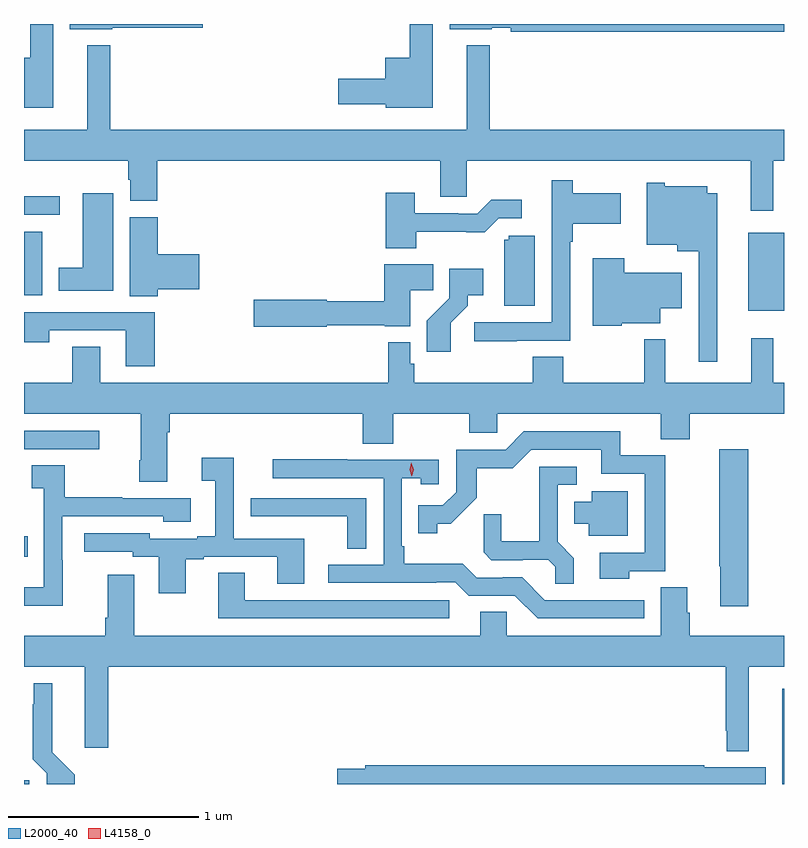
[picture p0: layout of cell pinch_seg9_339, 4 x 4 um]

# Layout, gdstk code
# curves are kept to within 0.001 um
import gdstk
lib = gdstk.Library(unit=1e-6, precision=1e-09)
def R(c, l, rs):  # rectangles x0, y0, x1, y1
    for r in rs: c.add(gdstk.rectangle(r[:2], r[2:], *l))
def P(c, l, *ps):  # polygons
    for p in ps: c.add(gdstk.Polygon(p, *l))
L2000_40 = (2000, 40)
L4158_0 = (4158, 0)

pinch_seg9_339 = lib.new_cell('pinch_seg9_339')
R(pinch_seg9_339, L2000_40, [(539.751,1195.804,539.779,1195.825), (543.743,1195.804,543.751,1196.305), (539.751,1196.999,539.771,1197.109), (539.751,1197.567,540.148,1197.663), (543.563,1198.295,543.751,1198.705), (539.751,1198.376,539.848,1198.711), (539.751,1198.8,539.938,1198.898)])
P(pinch_seg9_339, L2000_40, [(543.751,1199.804),(541.991,1199.804),(541.991,1199.777),(542.214,1199.777),(542.214,1199.783),(542.314,1199.783),(542.314,1199.764),(543.751,1199.764)],
  [(540.216,1199.783),(540.691,1199.783),(540.691,1199.804),(539.993,1199.804),(539.993,1199.777),(540.216,1199.777)],
  [(539.905,1199.804),(539.784,1199.804),(539.784,1199.626),(539.751,1199.626),(539.751,1199.363),(539.905,1199.363)],
  [(541.903,1199.804),(541.782,1199.804),(541.782,1199.626),(541.652,1199.626),(541.652,1199.516),(541.404,1199.516),(541.404,1199.381),(541.656,1199.381),(541.656,1199.363),(541.903,1199.363)],
  [(543.695,1199.084),(543.751,1199.084),(543.751,1199.248),(542.203,1199.248),(542.203,1199.692),(542.081,1199.692),(542.081,1199.248),(540.205,1199.248),(540.205,1199.692),(540.083,1199.692),(540.083,1199.248),(539.751,1199.248),(539.751,1199.084),(540.299,1199.084),(540.299,1198.983),(540.311,1198.983),(540.311,1198.873),(540.452,1198.873),(540.452,1199.084),(541.943,1199.084),(541.943,1198.894),(542.082,1198.894),(542.082,1199.084),(543.577,1199.084),(543.577,1198.821),(543.695,1198.821)],
  [(542.345,1198.137),(542.625,1198.137),(542.625,1198.658),(542.638,1198.658),(542.638,1198.754),(542.893,1198.754),(542.893,1198.912),(542.638,1198.912),(542.638,1198.981),(542.528,1198.981),(542.528,1198.758),(542.529,1198.758),(542.529,1198.233),(542.121,1198.233),(542.121,1198.135),(542.345,1198.135)],
  [(543.4,1198.912),(543.346,1198.912),(543.346,1198.951),(543.123,1198.951),(543.123,1198.969),(543.029,1198.969),(543.029,1198.643),(543.188,1198.643),(543.188,1198.607),(543.303,1198.607),(543.303,1198.026),(543.4,1198.026)],
  [(541.815,1198.71),(542.177,1198.709),(542.25,1198.782),(542.371,1198.782),(542.371,1198.879),(542.209,1198.879),(542.136,1198.806),(542.036,1198.806),(542.036,1198.809),(541.807,1198.809),(541.807,1198.915),(541.655,1198.915),(541.655,1198.625),(541.815,1198.625)],
  [(540.22,1198.912),(540.059,1198.912),(540.059,1198.522),(539.933,1198.522),(539.933,1198.4),(540.22,1198.4)],
  [(540.455,1198.409),(540.673,1198.409),(540.673,1198.592),(540.455,1198.592),(540.455,1198.788),(540.308,1198.788),(540.308,1198.372),(540.455,1198.372)],
  [(542.44,1198.689),(542.301,1198.689),(542.301,1198.668),(542.279,1198.668),(542.279,1198.32),(542.44,1198.32)],
  [(542.898,1198.229),(543.1,1198.229),(543.1,1198.307),(543.214,1198.307),(543.214,1198.495),(542.91,1198.495),(542.91,1198.57),(542.744,1198.57),(542.744,1198.217),(542.898,1198.217)],
  [(541.344,1198.218),(541.65,1198.218),(541.65,1198.214),(541.783,1198.214),(541.783,1198.402),(541.904,1198.402),(541.904,1198.54),(541.646,1198.54),(541.646,1198.346),(541.344,1198.346),(541.344,1198.352),(540.96,1198.352),(540.96,1198.21),(541.344,1198.21)],
  [(541.996,1198.231),(542.086,1198.321),(542.086,1198.376),(542.167,1198.376),(542.167,1198.516),(541.989,1198.516),(541.989,1198.361),(541.87,1198.242),(541.87,1198.08),(541.996,1198.08)],
  [(540.44,1198.287),(539.751,1198.287),(539.751,1198.128),(539.883,1198.128),(539.883,1198.191),(540.287,1198.191),(540.287,1198.002),(540.44,1198.002)],
  [(540.505,1197.656),(540.518,1197.656),(540.518,1197.752),(541.535,1197.752),(541.535,1197.595),(541.695,1197.595),(541.695,1197.752),(542.095,1197.752),(542.095,1197.654),(542.241,1197.654),(542.241,1197.752),(543.101,1197.752),(543.101,1197.619),(543.254,1197.619),(543.254,1197.752),(543.751,1197.752),(543.751,1197.916),(543.695,1197.916),(543.695,1198.15),(543.578,1198.15),(543.578,1197.916),(543.125,1197.916),(543.125,1198.144),(543.015,1198.144),(543.015,1197.916),(542.589,1197.916),(542.589,1198.052),(542.429,1198.052),(542.429,1197.916),(541.805,1197.916),(541.805,1198.017),(541.785,1198.017),(541.785,1198.129),(541.669,1198.129),(541.669,1197.916),(540.151,1197.916),(540.151,1198.106),(540.004,1198.106),(540.004,1197.916),(539.751,1197.916),(539.751,1197.752),(540.365,1197.752),(540.365,1197.508),(540.358,1197.508),(540.358,1197.396),(540.505,1197.396)],
  [(542.937,1196.925),(543.127,1196.925),(543.127,1197.534),(542.888,1197.534),(542.888,1197.66),(542.382,1197.66),(542.286,1197.564),(542.025,1197.564),(542.025,1197.339),(541.956,1197.27),(541.825,1197.27),(541.825,1197.123),(541.926,1197.123),(541.926,1197.173),(541.996,1197.173),(542.134,1197.31),(542.134,1197.466),(542.323,1197.466),(542.421,1197.564),(542.789,1197.564),(542.789,1197.438),(543.018,1197.438),(543.018,1197.021),(542.781,1197.021),(542.781,1196.885),(542.937,1196.885)],
  [(543.563,1197.565),(543.409,1197.565),(543.409,1196.951),(543.416,1196.951),(543.416,1196.739),(543.563,1196.739)],
  [(540.601,1196.988),(540.697,1196.988),(540.697,1197),(541.085,1197),(541.085,1196.857),(541.225,1196.857),(541.225,1197.096),(540.855,1197.096),(540.855,1197.52),(540.687,1197.52),(540.687,1197.4),(540.758,1197.4),(540.758,1197.109),(540.662,1197.109),(540.662,1197.096),(540.414,1197.096),(540.414,1197.123),(540.069,1197.123),(540.069,1197.027),(540.324,1197.027),(540.324,1197),(540.461,1197),(540.461,1196.808),(540.601,1196.808)],
  [(543.016,1196.772),(542.493,1196.772),(542.373,1196.892),(542.272,1196.892),(542.272,1196.889),(542.133,1196.889),(542.06,1196.962),(541.753,1196.962),(541.753,1197.055),(541.74,1197.055),(541.74,1197.413),(541.839,1197.413),(541.839,1197.381),(541.935,1197.381),(541.935,1197.51),(541.451,1197.51),(541.451,1197.513),(541.059,1197.513),(541.059,1197.414),(541.644,1197.414),(541.644,1196.958),(541.353,1196.958),(541.353,1196.862),(541.922,1196.862),(541.922,1196.865),(542.022,1196.865),(542.091,1196.796),(542.334,1196.796),(542.454,1196.676),(543.016,1196.676)],
  [(539.955,1196.981),(539.952,1196.981),(539.952,1197.213),(540.483,1197.213),(540.483,1197.185),(540.628,1197.185),(540.628,1197.309),(540.269,1197.309),(540.269,1197.312),(539.965,1197.312),(539.965,1197.482),(539.793,1197.482),(539.793,1197.361),(539.856,1197.361),(539.856,1196.839),(539.751,1196.839),(539.751,1196.741),(539.955,1196.741)],
  [(542.645,1196.993),(542.559,1197.079),(542.559,1197.378),(542.659,1197.378),(542.659,1197.474),(542.462,1197.474),(542.462,1197.082),(542.264,1197.082),(542.264,1197.225),(542.17,1197.225),(542.17,1197.023),(542.211,1196.982),(542.376,1196.982),(542.376,1196.985),(542.51,1196.985),(542.547,1196.948),(542.547,1196.857),(542.645,1196.857)],
  [(542.929,1197.346),(542.738,1197.346),(542.738,1197.289),(542.648,1197.289),(542.648,1197.173),(542.723,1197.173),(542.723,1197.11),(542.929,1197.11)],
  [(541.551,1197.309),(540.945,1197.309),(540.945,1197.214),(541.057,1197.214),(541.057,1197.213),(541.453,1197.213),(541.453,1197.043),(541.551,1197.043)],
  [(541.99,1196.772),(540.913,1196.772),(540.913,1196.915),(540.773,1196.915),(540.773,1196.676),(541.99,1196.676)],
  [(543.565,1196.42),(543.751,1196.42),(543.751,1196.584),(543.254,1196.584),(543.254,1196.706),(543.241,1196.706),(543.241,1196.84),(543.101,1196.84),(543.101,1196.584),(542.292,1196.584),(542.292,1196.711),(542.153,1196.711),(542.153,1196.584),(540.331,1196.584),(540.331,1196.905),(540.191,1196.905),(540.191,1196.68),(540.179,1196.68),(540.179,1196.584),(539.751,1196.584),(539.751,1196.42),(540.071,1196.42),(540.071,1195.995),(540.194,1195.995),(540.194,1196.42),(543.444,1196.42),(543.444,1196.083),(543.45,1196.083),(543.45,1195.976),(543.565,1195.976)],
  [(540.017,1195.854),(539.899,1195.972),(539.899,1196.335),(539.801,1196.335),(539.801,1196.225),(539.797,1196.225),(539.797,1195.934),(539.871,1195.86),(539.871,1195.804),(540.017,1195.804)],
  [(543.655,1195.891),(543.332,1195.891),(543.332,1195.904),(541.546,1195.904),(541.546,1195.884),(541.4,1195.884),(541.4,1195.804),(543.655,1195.804)])
P(pinch_seg9_339, L4158_0, [(541.792,1197.423),(541.781,1197.458),(541.79,1197.495),(541.79,1197.495),(541.79,1197.495),(541.801,1197.459),(541.793,1197.423),(541.793,1197.423)])

lib.write_gds('pinch_seg9_339.gds')
